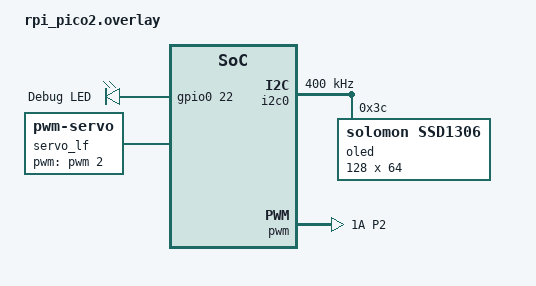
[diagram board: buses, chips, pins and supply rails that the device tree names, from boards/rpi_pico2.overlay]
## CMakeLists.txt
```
cmake_minimum_required(VERSION 3.28.0)

set(DTC_OVERLAY_FILE "${CMAKE_CURRENT_SOURCE_DIR}/boards/rpi_pico2.overlay")
find_package(Zephyr REQUIRED HINTS $ENV{ZEPHYR_BASE})
project(araneo LANGUAGES C)

target_include_directories(app PRIVATE inc)
target_sources(app PRIVATE
  src/main.c
  src/oled.c
  src/icons.c
  src/servo.c
)
```

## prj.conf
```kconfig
CONFIG_LOG=y
CONFIG_LOG_PRINTK=y
CONFIG_LOG_DEFAULT_LEVEL=3

CONFIG_I2C=y
CONFIG_GPIO=y
CONFIG_ADC=y
CONFIG_PWM=y

CONFIG_DISPLAY=y
CONFIG_SSD1306=y

CONFIG_CHARACTER_FRAMEBUFFER=y

CONFIG_HEAP_MEM_POOL_SIZE=4096

CONFIG_USB_DEVICE_INITIALIZE_AT_BOOT=y
# CONFIG_UART_LINE_CTRL=y
```

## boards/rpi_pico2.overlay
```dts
/ {
  leds {
    compatible = "gpio-leds";
    debug_led: debug-led {
      gpios = <&gpio0 22 GPIO_ACTIVE_HIGH>;
      label = "Debug LED";
    };
  };

  servo_lf: servo-lf {
    compatible = "pwm-servo";
    pwms = <&pwm 2 PWM_MSEC(20) PWM_POLARITY_NORMAL>;
    min-pulse = <PWM_USEC(1000)>;
    max-pulse = <PWM_USEC(2000)>;
  };

  aliases {
    display0 = &oled;
    debugled = &debug_led;
    servolf = &servo_lf;
  };

  chosen {
    zephyr,display = &oled;
  };
};

&pinctrl {
  i2c0_default: i2c0_default {
    group1 {
      pinmux = <I2C0_SDA_P16>, <I2C0_SCL_P17>;
      bias-pull-up;
      input-enable;
      input-schmitt-enable;
    };
  };

  pwm_default: pwm_default {
    group1 {
      pinmux = <PWM_1A_P2>;
    };
  };
};

&i2c0 {
  status = "okay";
  clock-frequency = <I2C_BITRATE_FAST>;
  pinctrl-0 = <&i2c0_default>;
  pinctrl-names = "default";

  oled: oled@3c {
    status = "okay";
    compatible="solomon,ssd1306";
    reg = <0x3c>;
    height = <64>;
    width = <128>;
    com-invdir;
    segment-remap;
    page-offset = <0>;
    segment-offset = <0>;
    display-offset = <0>;
    multiplex-ratio = <63>;
    prechargep = <0x22>;
  };
};

&pwm {
  status = "okay";
  pinctrl-0 = <&pwm_default>;
  pinctrl-names = "default";
  divider-int-1 = <128>; 
};

&gpio0 {
  status = "okay";
};
```

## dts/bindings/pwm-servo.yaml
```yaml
# Copied binding from samples/basic/servo_motor/dts/bindings/pwm-servo.yaml
description: PWM-driven servo motor.

compatible: "pwm-servo"

include: base.yaml

properties:
  pwms:
    required: true
    type: phandle-array
    description: PWM specifier driving the servo motor.
  min-pulse:
    required: true
    type: int
    description: Minimum pulse width (nanoseconds).
  max-pulse:
    required: true
    type: int
    description: Maximum pulse width (nanoseconds).
```

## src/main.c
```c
#include "oled.h"
#include "icons.h"
#include "servo.h"
#include <zephyr/kernel.h>

int main(void) {
  if (servo_init(SERVO_COXA_LEFT_BACK) < 0)
    return 1;

  setup_display();
  int i = 0;

  while(1) {
    draw_img(get_icon((ICON_ELIZA + i) % ICON_COUNT));
    ++i;
    k_msleep(2000);
  }
  return 0;
}
```

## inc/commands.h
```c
#ifndef COMMANDS_H__
#define COMMANDS_H__

#include <zephyr/shell/shell.h>

int cmd_servo_set_angle(const struct shell *sh, int argc, char **argv);
int cmd_oled_set_face(const struct shell *sh, int argc, char **argv);

#endif // COMMANDS_H__
```

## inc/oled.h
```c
#ifndef OLED_H__
#define OLED_H__

#include <zephyr/kernel.h>

#define OLED_WIDTH 128
#define OLED_HEIGHT 64

void setup_display(void);
void draw_img(const uint8_t *img);

#endif // OLED_H__
```

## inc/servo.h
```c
#ifndef SERVO_H__
#define SERVO_H__

#include <stdint.h>

#define MIN_PULSE_US 1000
#define MAX_PULSE_US 2000

typedef enum {
  SERVO_COXA_LEFT_FRONT = 0,
  SERVO_COXA_RIGHT_FRONT,
  SERVO_COXA_LEFT_BACK,
  SERVO_COXA_RIGHT_BACK,
  SERVO_TIBIA_LEFT_FRONT,
  SERVO_TIBIA_RIGHT_FRONT,
  SERVO_TIBIA_LEFT_BACK,
  SERVO_TIBIA_RIGHT_BACK,

  SERVO_COUNT
} servo_id_t;

int servo_init_all(void);
int servo_id_from_str(const char *str, servo_id_t *id);
int servo_init(servo_id_t id);
int servo_set_angle(servo_id_t id, uint32_t angle_deg);
int32_t servo_get_angle(servo_id_t id);

#endif // SERVO_H__
```

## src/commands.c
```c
#include "commands.h"
#include <stdlib.h>
#include "servo.h"

int cmd_servo_set_angle(const struct shell *sh, int argc, char **argv) {
  if (argc < 3) {
    shell_error(sh, "Usage: servo [servo_id] <(coxa | tibia)_(lf | rf | lb | "
                "lf)> [angle] <0-180>");
    shell_error(sh, "Example: servo coxa_lb 120");
    return -1;
  }

  const char *servo_arg = argv[1];
  servo_id_t servo_id;

  if (servo_id_from_str(argv[1], &servo_id) < 0) {
    shell_error(sh, "Unknown servo.");
    return -2;
  }

  char *end;
  long angle = strtol(argv[2], &end, 10);

  if (*end != '\0' || angle < 0 || angle > 180) {
    shell_error(sh, "Invalid angle. Use angle in interval [0-180].");
    return -3;
  }

  int ret = servo_set_angle(servo_id, (int32_t)angle);

  if (ret < 0) {
    shell_error(sh, "Error (%d) setting angle %ld for servo %s.", ret, angle, servo_arg);
    return ret;
  }

  return 0;
}

SHELL_CMD_REGISTER(servo, NULL, "Servos commands", cmd_servo_set_angle);
```

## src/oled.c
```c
#include "oled.h"
#include <zephyr/kernel.h>
#include <zephyr/device.h>
#include <zephyr/display/cfb.h>
#include <zephyr/logging/log.h>

static const struct device *display = DEVICE_DT_GET(DT_CHOSEN(zephyr_display));

const uint8_t img[] = {0xff, 0xff, 0xff};

LOG_MODULE_REGISTER(oled, 3);

void setup_display() {
  if (!device_is_ready(display)) {
    LOG_ERR("Display not ready\n");
    return;
  }

  if (cfb_framebuffer_init(display)) {
     LOG_ERR("CFB init failed\n");
    return;
  }

  cfb_framebuffer_clear(display, true);
}

void draw_img(const uint8_t *img) {
  cfb_framebuffer_clear(display, true);

  int bytes_per_row = OLED_WIDTH / 8;

  for (int r = 0; r < OLED_HEIGHT; ++r) {
    for (int c = 0; c < OLED_WIDTH; ++c) {
      uint8_t byte = img[r * bytes_per_row + (c / 8)];
      bool pixel_on = (byte & (1 << (c % 8))) != 0;

      if (!pixel_on) {
        struct cfb_position pos = {.x = c, .y = r};
        cfb_draw_point(display, &pos);
      }
    }
  }

  cfb_framebuffer_finalize(display);
}
```

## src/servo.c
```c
#include "servo.h"
#include <zephyr/drivers/pwm.h>
#include <zephyr/logging/log.h>
#include <strings.h>

LOG_MODULE_REGISTER(servo, LOG_LEVEL_INF);

struct servo_config {
  struct pwm_dt_spec pwm;
  int32_t offset_deg;
  int32_t current_angle;
};

struct servo_arg_map {
  const char *arg;
  servo_id_t id;
};

static struct servo_arg_map servo_args[] = {
  {"coxa_lf", SERVO_COXA_LEFT_FRONT},
  {"coxa_lb", SERVO_COXA_LEFT_BACK},
  {"coxa_rf", SERVO_COXA_RIGHT_FRONT},
  {"coxa_rb", SERVO_COXA_RIGHT_BACK},
  {"tibia_lf", SERVO_TIBIA_LEFT_FRONT},
  {"tibia_lb", SERVO_TIBIA_LEFT_BACK},
  {"tibia_rf", SERVO_TIBIA_RIGHT_FRONT},
  {"tibia_rb", SERVO_TIBIA_RIGHT_BACK},
};

static struct servo_config servos[SERVO_COUNT] = {
  [SERVO_COXA_LEFT_BACK] = {
    .pwm = PWM_DT_SPEC_GET(DT_ALIAS(servolf)),
    .current_angle = 90,
    .offset_deg = 0
  },
};

int servo_id_from_str(const char *str, servo_id_t *id) {
  if (str == NULL || id == NULL)
    return -1;

  for (size_t i = 0; i < sizeof(servo_args) / sizeof(servo_args[0]); ++i) {
    if (strcasecmp(str, servo_args[i].arg) == 0) {
      *id = servo_args[i].id;
      return 0;
    }
  }

  return -2;
}

int servo_get_angle(servo_id_t id) {
  if (id >= SERVO_COUNT)
    return -1;

  return servos[id].current_angle;
}

int servo_init(servo_id_t id) {
  if (!pwm_is_ready_dt(&servos[id].pwm)) {
    LOG_ERR("PWM for %d servo isn't ready.\n", id);
    return -1;
  }

  return 0;
}

int servo_init_all(void) {
  for (size_t i = 0; i < SERVO_COUNT; ++i) {
    if (servo_init(i) < 0)
      return -1;

    servo_set_angle((servo_id_t)i, 90);
  }

  LOG_INF("Initialized %d servos.\n", SERVO_COUNT);
  return 0;
}

int servo_set_angle(servo_id_t id, uint32_t angle_deg) {
  if (id >= SERVO_COUNT || !pwm_is_ready_dt(&servos[id].pwm))
    return -1;

  struct servo_config *s = &servos[id];

  if (angle_deg < 0)
    angle_deg = 0;

  if (angle_deg > 180)
    angle_deg = 180;

  int32_t real_angle_deg = angle_deg + s->offset_deg;

  if (real_angle_deg < 0)
    real_angle_deg = 0;

  if (real_angle_deg > 180)
    real_angle_deg = 180;

  uint32_t pulse_us = MIN_PULSE_US + ((MAX_PULSE_US - MIN_PULSE_US) *
    real_angle_deg / 180);

  int ret = pwm_set_pulse_dt(&s->pwm, PWM_USEC(pulse_us));

  if (ret < 0) {
    LOG_ERR("Failed to set PWM for servo %d (%d).\n", id, ret);
    return ret;
  }

  s->current_angle = angle_deg;
  return 0;
}
```
